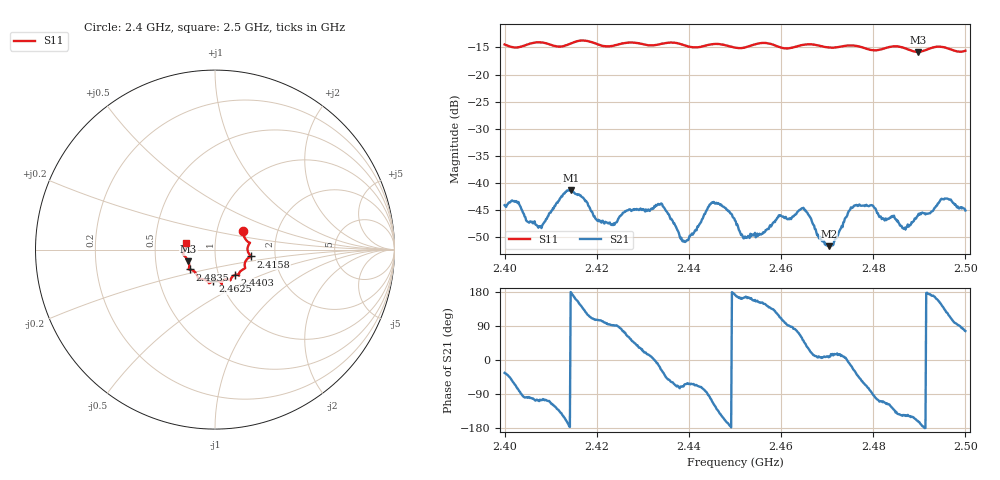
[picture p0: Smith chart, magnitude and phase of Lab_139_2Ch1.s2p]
# Hz S RI R 50
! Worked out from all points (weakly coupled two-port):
!   601 points, 2.4 GHz to 2.5 GHz, reference 50 ohm
!   highest |S21| = -41.36 dB at 2.4143 GHz (marker M1); lowest = -51.7 dB at 2.4703 GHz (marker M2)
!   lowest |S11| = -15.8 dB at 2.4897 GHz (marker M3), VSWR 1.39, Z = 36.8 - j4.92 ohm
!   |S11| at or under -10 dB: start of sweep to end of sweep
!   S12 and S22 are empty: the file has one direction only
!   S11 on the Smith chart (normalised r, x): 2.4 GHz: 1.34, +0.29; 2.4158 GHz: 1.49, -0.12; 2.4403 GHz: 1.20, -0.35; 2.4625 GHz: 0.92, -0.34; 2.4835 GHz: 0.74, -0.17; 2.5 GHz: 0.72, +0.05
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2.4e9  0.1569 0.1059  0.00514 -0.00347  0 0  0 0
2.407667e9  0.1951 0.038  -0.001 -0.00379  0 0  0 0
2.414333e9  0.1912 -0.028  -0.00855 0.000108  0 0  0 0
2.415833e9  0.2 -0.0379  -0.00701 0.00317  0 0  0 0
2.416667e9  0.2022 -0.0406  -0.00585 0.00459  0 0  0 0
2.423333e9  0.1655 -0.0795  -0.000109 0.0041  0 0  0 0
2.433333e9  0.1339 -0.1337  0.00622 -0.00137  0 0  0 0
2.438667e9  0.1265 -0.1397  0.00103 -0.00268  0 0  0 0
2.440333e9  0.1128 -0.1402  0.00142 -0.00292  0 0  0 0
2.445e9  0.0858 -0.1699  -0.00209 -0.00622  0 0  0 0
2.45e9  0.0639 -0.1653  -0.00443 0.000643  0 0  0 0
2.452167e9  0.044 -0.1723  -0.00307 0.000825  0 0  0 0
2.4625e9  -0.011 -0.1771  0.000316 0.00486  0 0  0 0
2.466667e9  -0.0336 -0.1869  0.0042 0.00134  0 0  0 0
2.470333e9  -0.0515 -0.1703  0.00257 0.000321  0 0  0 0
2.476e9  -0.0935 -0.1594  0.00538 -0.00304  0 0  0 0
2.483333e9  -0.1405 -0.1109  -0.00208 -0.00413  0 0  0 0
2.4835e9  -0.1413 -0.1108  -0.00215 -0.00419  0 0  0 0
2.486833e9  -0.1441 -0.0994  -0.00316 -0.00218  0 0  0 0
2.489667e9  -0.1482 -0.0651  -0.00465 -0.00164  0 0  0 0
2.495333e9  -0.1776 -0.0198  -0.00506 0.00484  0 0  0 0
2.5e9  -0.1616 0.0371  0.0013 0.00539  0 0  0 0
